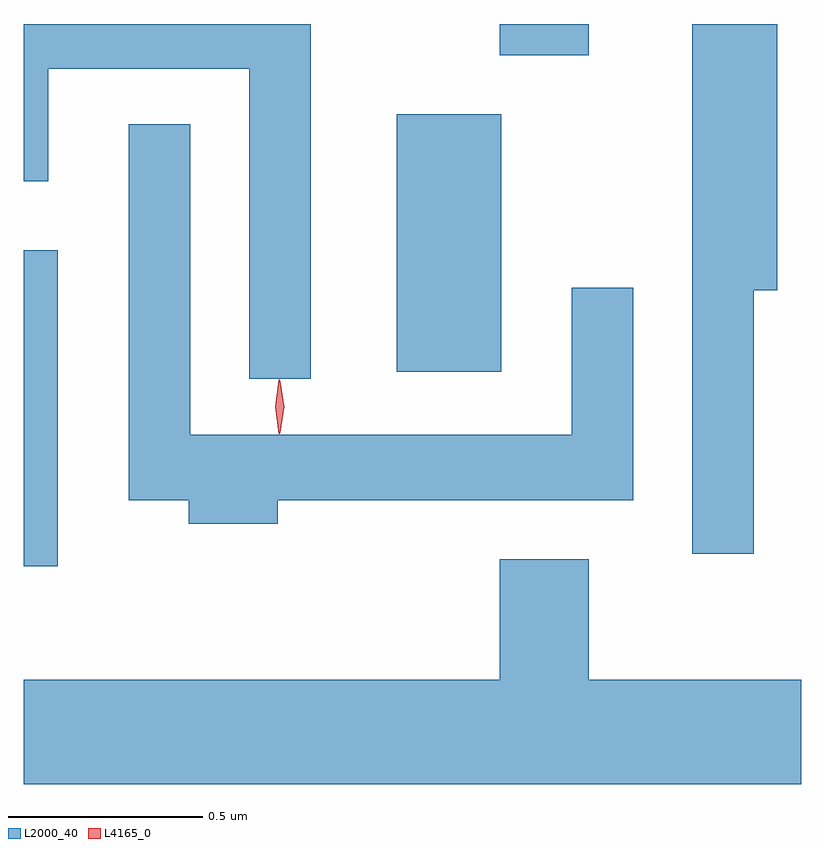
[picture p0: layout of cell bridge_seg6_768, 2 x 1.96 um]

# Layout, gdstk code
import gdstk
lib = gdstk.Library(unit=1e-6, precision=1e-09)
def R(c, l, rs):  # rectangles x0, y0, x1, y1
    for r in rs: c.add(gdstk.rectangle(r[:2], r[2:], *l))
def P(c, l, *ps):  # polygons
    for p in ps: c.add(gdstk.Polygon(p, *l))
L2000_40 = (2000, 40)
L4165_0 = (4165, 0)

bridge_seg6_768 = lib.new_cell('bridge_seg6_768')
R(bridge_seg6_768, L2000_40, [(492.536,1548.376,492.624,1549.189), (493.496,1548.876,493.764,1549.539), (493.761,1549.691,493.989,1549.771)])
P(bridge_seg6_768, L2000_40, [(494.414,1549.086),(494.474,1549.086),(494.474,1549.771),(494.256,1549.771),(494.256,1548.408),(494.414,1548.408)],
  [(493.274,1549.771),(492.536,1549.771),(492.536,1549.366),(492.599,1549.366),(492.599,1549.656),(493.116,1549.656),(493.116,1548.858),(493.274,1548.858)],
  [(493.189,1548.546),(494.104,1548.546),(494.104,1549.093),(493.946,1549.093),(493.946,1548.714),(492.964,1548.714),(492.964,1549.513),(492.806,1549.513),(492.806,1548.546),(492.961,1548.546),(492.961,1548.486),(493.189,1548.486)],
  [(494.536,1548.084),(493.989,1548.084),(493.989,1548.394),(493.761,1548.394),(493.761,1548.084),(492.536,1548.084),(492.536,1547.816),(494.536,1547.816)])
P(bridge_seg6_768, L4165_0, [(493.192,1548.717),(493.183,1548.787),(493.192,1548.856),(493.193,1548.856),(493.194,1548.856),(493.203,1548.787),(493.194,1548.717),(493.193,1548.717)],
  [(493.196,1548.719),(493.195,1548.72),(493.185,1548.786),(493.195,1548.852),(493.196,1548.853),(493.196,1548.852),(493.206,1548.786),(493.196,1548.72)])

lib.write_gds('bridge_seg6_768.gds')
